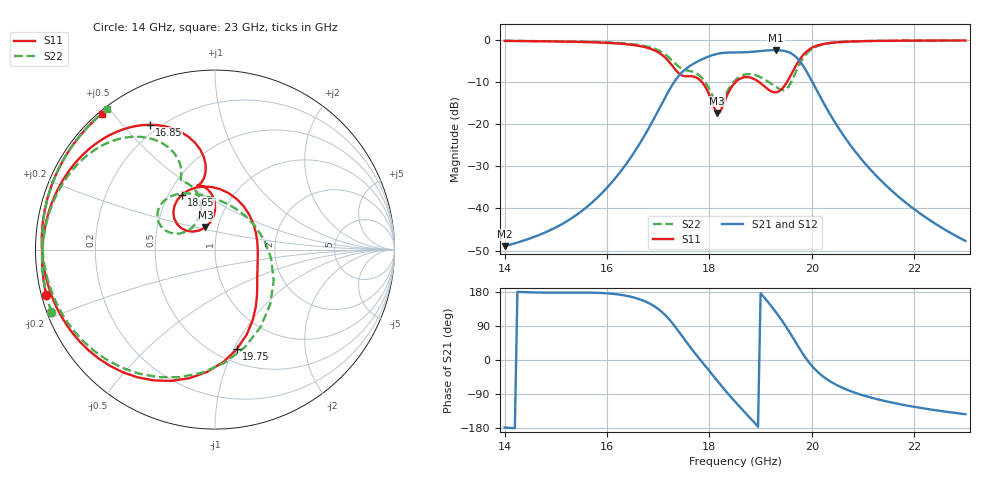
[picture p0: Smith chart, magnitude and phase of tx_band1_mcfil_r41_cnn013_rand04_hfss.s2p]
! Touchstone file exported from HFSS 3D Layout Design 2026.1.0
!  File:  D:/Work/SIM/ADS_AUTO_SIM/projects/RFSOC_RF/TX_Fillter.aedt
!  Generated:  03:50:20 AM Aug 31, 2026
!  Design:  TX_BAND1_MCFIL_R41_CNN013
!  Project:  TX_Fillter
# GHz S MA R 50.000000
! Terminal data exported
! Port[1] = Port1
! Port[2] = Port2
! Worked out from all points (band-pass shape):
!   181 points, 14 GHz to 23 GHz, reference 50 ohm
!   highest |S21| = -2.42 dB at 19.3 GHz (marker M1); lowest = -49.0 dB at 14 GHz (marker M2)
!   |S21| within 3 dB of the highest: 17.72 GHz to 19.79 GHz (2.065 GHz wide, 11 % of centre)
!   lowest |S11| = -17.4 dB at 18.15 GHz (marker M3), VSWR 1.31, Z = 43.6 + j11 ohm
!   |S11| at or under -10 dB: 17.85 GHz to 18.51 GHz (659.1 MHz wide, 3.62 % of centre); 18.97 GHz to 19.51 GHz (544.4 MHz wide, 2.83 % of centre)
!   |S22| runs from -15.0 to -0.1 dB; largest |S21 - S12| = 1.6e-14
!   S11 on the Smith chart (normalised r, x): 14 GHz: 0.01, -0.13; 16.85 GHz: 0.16, +0.59; 18.65 GHz: 0.58, +0.41; 19.75 GHz: 0.63, -1.03; 23 GHz: 0.01, +0.47
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14  0.973 -165.0  0.003564 -178.3  0.003564 -178.3  0.9756 -159.1
15.5  0.9461 164.6  0.009238 177.9  0.009238 177.9  0.9527 172.6
16.25  0.9038 143.4  0.02666 172.4  0.02666 172.4  0.9171 153.4
16.85  0.785 117.6  0.09782 147.7  0.09782 147.7  0.8166 131.0
17  0.7128 109.0  0.1447 134.7  0.1447 134.7  0.7551 123.6
17.25  0.517 96.8  0.2756 101.7  0.2756 101.7  0.5869 113.0
17.55  0.3703 105.2  0.4592 47.4  0.4592 47.4  0.4363 116.0
17.85  0.3184 94.4  0.5861 -4.3  0.5861 -4.3  0.3565 108.8
18.15  0.1354 113.5  0.6827 -54.3  0.6827 -54.3  0.1796 126.9
18.3  0.1888 146.4  0.7039 -78.9  0.7039 -78.9  0.2155 155.5
18.5  0.3111 138.2  0.7095 -109.9  0.7095 -109.9  0.3302 156.5
18.65  0.3568 121.3  0.7116 -131.9  0.7116 -131.9  0.3811 147.1
19  0.3065 66.5  0.7388 176.3  0.7388 176.3  0.3609 119.8
19.3  0.2384 -1.4  0.7567 126.0  0.7567 126.0  0.2767 86.2
19.5  0.3057 -39.6  0.7316 87.3  0.7316 87.3  0.2592 30.3
19.75  0.5685 -77.7  0.5746 32.3  0.5746 32.3  0.5003 -59.5
19.85  0.683 -93.7  0.4718 11.3  0.4718 11.3  0.6323 -85.1
20  0.8052 -115.2  0.3261 -15.4  0.3261 -15.4  0.778 -114.0
20.2  0.8884 -137.0  0.193 -41.4  0.193 -41.4  0.8786 -140.0
20.5  0.9382 -159.3  0.09443 -67.0  0.09443 -67.0  0.9375 -164.1
21.5  0.9768 161.4  0.01753 -110.5  0.01753 -110.5  0.9784 157.3
23  0.985 129.8  0.004118 -143.1  0.004118 -143.1  0.9855 127.5
